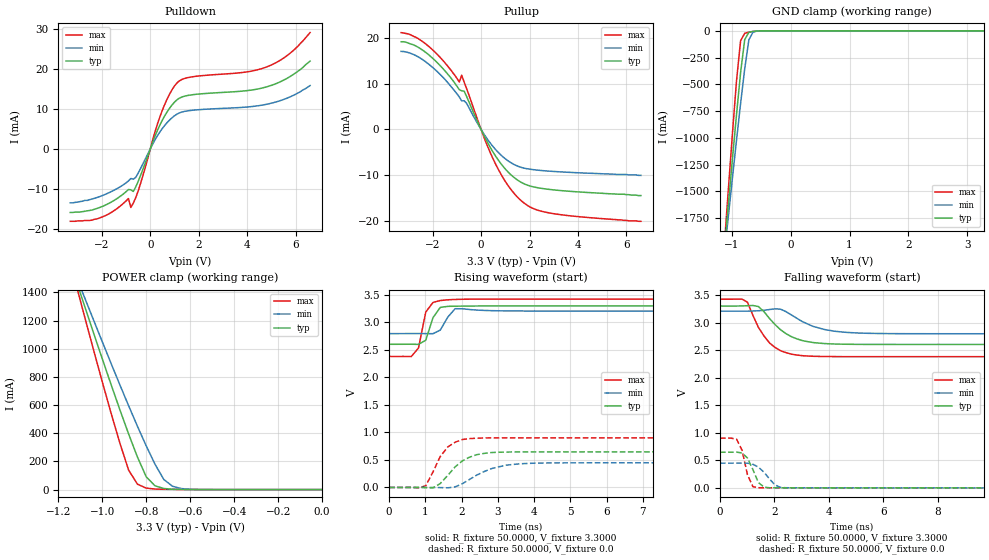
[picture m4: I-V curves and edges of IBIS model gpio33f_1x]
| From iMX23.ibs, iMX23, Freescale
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|   Model gpio33f_1x
[Model]  gpio33f_1x
Model_type I/O
Polarity   Non-Inverting
Enable   Active-Low
Vinl =   0.8000V
Vinh =   2.0000V
Vmeas =  1.6500V
Cref =   30.0000pF
Rref =   50.0000
Vref =   1.6500V
C_comp   3.0000pF   2.0000pF   4.0000pF
[Temperature Range]   50.0000   100.0000   0.0
[Voltage Range]   3.3000V   3.0000V   3.6000V
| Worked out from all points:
|   slope of the pulldown table from 0 to 0.495 V, typ, clamps not added: 69.4 ohm
|   slope of the pullup table from 0 to 0.495 V, typ, clamps not added: 100 ohm
|   GND clamp passes 1 mA (typ) near -0.53 V on its own axis
|   POWER clamp passes 1 mA (typ) near -0.63 V on its own axis
|   rising waveform, R_fixture 50.0000, V_fixture 3.3000: 20-80 % time 248ps typ, 229ps min, 214ps max; typ from 2.6 V to 3.3 V
|   rising waveform, R_fixture 50.0000, V_fixture 0.0: 20-80 % time 631ps typ, 849ps min, 472ps max; typ from 0 V to 0.647 V
|   falling waveform, R_fixture 50.0000, V_fixture 3.3000: 20-80 % time 955ps typ, 1.13ns min, 783ps max; typ from 3.3 V to 2.6 V
|   falling waveform, R_fixture 50.0000, V_fixture 0.0: 20-80 % time 350ps typ, 503ps min, 292ps max; typ from 0.647 V to 0 V
[Pulldown]
|Voltage   I(typ)   I(min)   I(max)
-3.3V     -15.8mA    -13.4mA    -18mA
-2V       -14.36mA   -11.65mA   -16.97mA
-900mV    -10.09mA   -7.947mA   -12.32mA
-800mV    -10.15mA   -7.34mA    -14.55mA
-700mV    -10.57mA   -7.514mA   -13.49mA
-600mV    -9.461mA   -7.082mA   -12.14mA
500mV     7.192mA    5.125mA    9.655mA
900mV     10.97mA    7.786mA    14.77mA
1.2V      12.65mA    8.983mA    16.95mA
4.8V      15.47mA    11.14mA    20.43mA
5.7V      17.78mA    12.8mA     23.49mA
6.6V      21.9mA     15.8mA     29mA
[Pullup]
|Voltage   I(typ)   I(min)   I(max)
-3.3V     19.1mA     17mA       21.1mA
-2.7V     18.2mA     16.1mA     20.1mA
-2.1V     15.98mA    13.95mA    17.81mA
-900mV    8.662mA    7.085mA    10.32mA
-800mV    8.419mA    6.229mA    11.81mA
-600mV    7.215mA    5.717mA    8.94mA
100mV     -1.111mA   -850.3uA   -1.424mA
600mV     -5.81mA    -4.381mA   -7.542mA
1.2V      -9.706mA   -7.14mA    -12.84mA
1.8V      -11.89mA   -8.451mA   -16.13mA
3.1V      -13.21mA   -9.181mA   -18.42mA
6.6V      -14.4mA    -10mA      -20mA
[GND_clamp]
|Voltage   I(typ)   I(min)   I(max)
-3.3V     -16.05A    -13.81A    -19.4A
-1.13V    -2.072A    -2.112A    -2.035A
-1.06V    -1.636A    -1.745A    -1.497A
-990mV    -1.206A    -1.382A    -971.1mA
-920mV    -786.7mA   -1.025A    -470.7mA
-850mV    -390.5mA   -679.5mA   -92.21mA
-780mV    -81.38mA   -354.3mA   -23.04mA
-710mV    -14.58mA   -85.27mA   -12.47mA
-640mV    -4.818mA   -12.73mA   -6.689mA
-570mV    -1.703mA   -2.139mA   -2.771mA
3.28V     -344.8nA   4.18uA     -6.865uA
[POWER_clamp]
|Voltage   I(typ)   I(min)   I(max)
-3.28V    12.03A     10.28A     14.68A
-1.12V    1.489A     1.518A     1.459A
-1.08V    1.3A       1.361A     1.225A
-920mV    566.8mA    743.5mA    330.2mA
-880mV    394mA      594.3mA    137.8mA
-840mV    230.9mA    449.2mA    38.56mA
-800mV    90.47mA    310.1mA    10.5mA
-760mV    26.97mA    179.7mA    3.981mA
-720mV    7.883mA    71.6mA     2.263mA
-680mV    2.674mA    23.37mA    1.532mA
-560mV    297.8uA    770.1uA    384.8uA
0V        566.7pA    1.536nA    254.7pA
[Ramp]
| variable   typ   min   max
dV/dt_r  0.3881/0.6247n   0.2689/0.8385n   0.5411/0.4629n
dV/dt_f  0.4185/0.9449n   0.2992/1.2312n   0.5553/0.7518n
R_load = 50.0000
[Rising Waveform]
R_fixture= 50.0000
V_fixture= 3.3000
|time   V(typ)   V(min)   V(max)
0s        2.603V     2.797V     2.381V
610ps     2.603V     2.797V     2.38V
810ps     2.601V     2.798V     2.535V
1.01ns    2.677V     2.797V     3.188V
1.21ns    3.087V     2.795V     3.363V
1.41ns    3.272V     2.86V      3.398V
1.62ns    3.292V     3.098V     3.412V
1.82ns    3.295V     3.249V     3.418V
3.84ns    3.3V       3.207V     3.424V
20ns      3.3V       3.207V     3.424V
[Rising Waveform]
R_fixture= 50.0000
V_fixture= 0.0
|time   V(typ)   V(min)   V(max)
0s        0V         0V         0V
1.01ns    -3.213mV   83.79uV    30.73mV
1.21ns    -7.451mV   -10.51uV   282.5mV
1.41ns    71.09mV    -2.535mV   562.4mV
1.62ns    221.2mV    -6.526mV   737.3mV
1.82ns    373.6mV    9.945mV    822.5mV
2.22ns    550.9mV    146mV      888.5mV
2.83ns    635mV      343.7mV    901mV
4.04ns    646.6mV    441.8mV    901.7mV
20ns      646.9mV    448.2mV    901.8mV
[Falling Waveform]
R_fixture= 50.0000
V_fixture= 3.3000
|time   V(typ)   V(min)   V(max)
0s        3.3V       3.207V     3.424V
810ps     3.301V     3.206V     3.425V
1.01ns    3.305V     3.207V     3.37V
1.41ns    3.291V     3.214V     2.915V
1.82ns    3.074V     3.236V     2.63V
2.22ns    2.872V     3.244V     2.49V
3.03ns    2.673V     3.016V     2.399V
3.84ns    2.619V     2.874V     2.384V
5.45ns    2.603V     2.805V     2.381V
20ns      2.603V     2.797V     2.381V
[Falling Waveform]
R_fixture= 50.0000
V_fixture= 0.0
|time   V(typ)   V(min)   V(max)
0s        646.9mV    448.2mV    901.8mV
610ps     648.4mV    448.6mV    883.4mV
810ps     633mV      449.4mV    684.2mV
1.01ns    541.9mV    448.1mV    240.3mV
1.21ns    333mV      427.9mV    21.14mV
1.41ns    98.08mV    377mV      2.336mV
1.62ns    12.63mV    283.3mV    1.446mV
2.02ns    1.404mV    54.03mV    816.3uV
2.42ns    836.2uV    2.434mV    406.5uV
20ns      2.307uV    2.688uV    1.467uV
